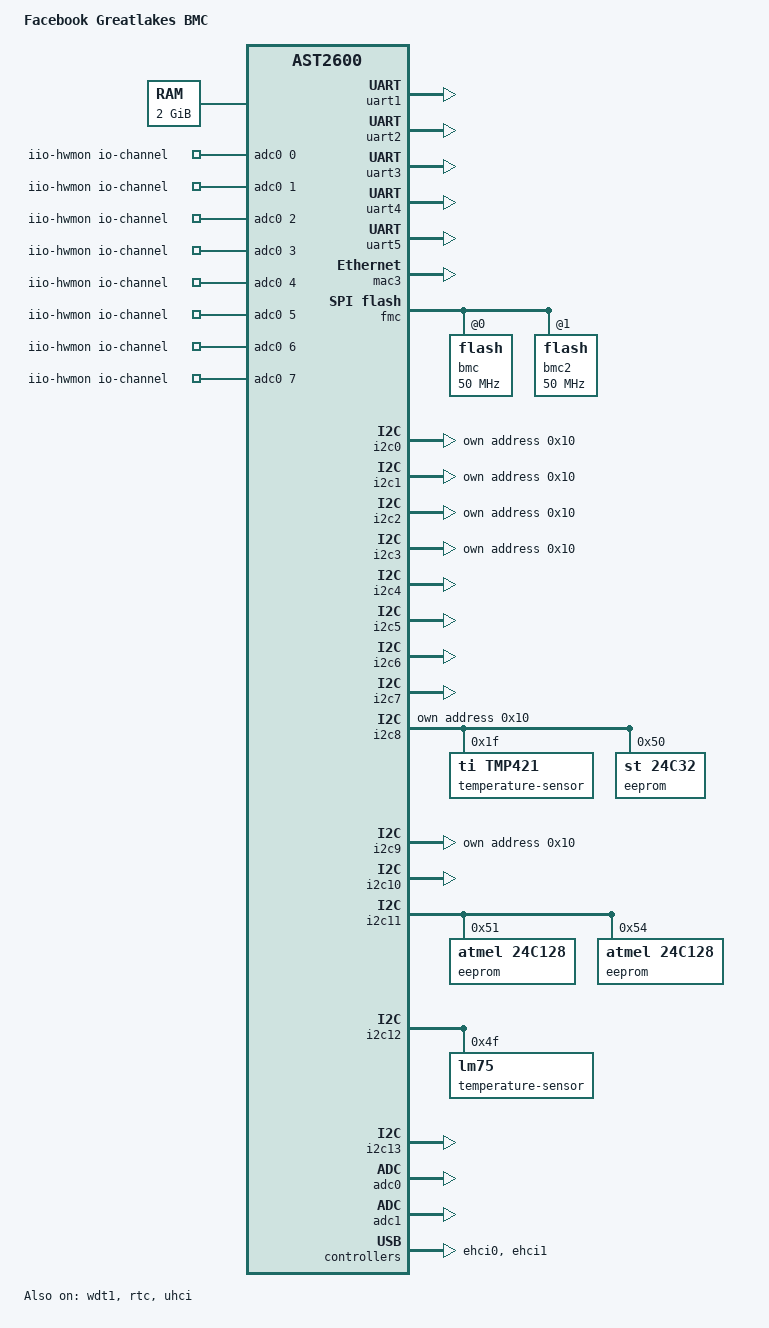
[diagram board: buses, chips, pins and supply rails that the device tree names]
// SPDX-License-Identifier: GPL-2.0-or-later
// Copyright 2022 Facebook Inc.

/dts-v1/;
#include "aspeed-g6.dtsi"
#include <dt-bindings/gpio/aspeed-gpio.h>
#include <dt-bindings/leds/leds-pca955x.h>
#include <dt-bindings/i2c/i2c.h>

/ {
	model = "Facebook Greatlakes BMC";
	compatible = "facebook,greatlakes-bmc", "aspeed,ast2600";

	aliases {
		serial4 = &uart5;
	};

	memory@80000000 {
		device_type = "memory";
		reg = <0x80000000 0x80000000>;
	};

	iio-hwmon {
		compatible = "iio-hwmon";
		io-channels = <&adc0 0>, <&adc0 1>, <&adc0 2>, <&adc0 3>,
				<&adc0 4>, <&adc0 5>, <&adc0 6>, <&adc0 7>,
				<&adc1 0>, <&adc1 2>, <&adc1 3>, <&adc1 4>,
				<&adc1 5>, <&adc1 6>;
	};
};

&uart1 {
	status = "okay";
};

&uart2 {
	status = "okay";
};

&uart3 {
	status = "okay";
};

&uart4 {
	status = "okay";
};

&uart5 {
	status = "okay";
};

&wdt1 {
	status = "okay";
	pinctrl-names = "default";
	pinctrl-0 = <&pinctrl_wdtrst1_default>;
	aspeed,reset-type = "soc";
	aspeed,external-signal;
	aspeed,ext-push-pull;
	aspeed,ext-active-high;
	aspeed,ext-pulse-duration = <256>;
};

&mac3 {
	status = "okay";
	pinctrl-names = "default";
	pinctrl-0 = <&pinctrl_rmii4_default>;
	no-hw-checksum;
	use-ncsi;
	mlx,multi-host;
	ncsi-ctrl,start-redo-probe;
	ncsi-ctrl,no-channel-monitor;
	ncsi-package = <1>;
	ncsi-channel = <1>;
	ncsi-rexmit = <1>;
	ncsi-timeout = <2>;
};

&rtc {
	status = "okay";
};

&fmc {
	status = "okay";
	flash@0 {
		status = "okay";
		m25p,fast-read;
		label = "bmc";
		spi-rx-bus-width = <4>;
		spi-max-frequency = <50000000>;
#include "openbmc-flash-layout-64.dtsi"
	};
	flash@1 {
		status = "okay";
		m25p,fast-read;
		label = "bmc2";
		spi-rx-bus-width = <4>;
		spi-max-frequency = <50000000>;
	};
};

&i2c0 {
	status = "okay";
	multi-master;
	ipmb@10 {
		compatible = "ipmb-dev";
		reg = <(0x10 | I2C_OWN_SLAVE_ADDRESS)>;
		i2c-protocol;
	};
};

&i2c1 {
	status = "okay";
	multi-master;
	ipmb@10 {
		compatible = "ipmb-dev";
		reg = <(0x10 | I2C_OWN_SLAVE_ADDRESS)>;
		i2c-protocol;
	};
};

&i2c2 {
	status = "okay";
	multi-master;
	ipmb@10 {
		compatible = "ipmb-dev";
		reg = <(0x10 | I2C_OWN_SLAVE_ADDRESS)>;
		i2c-protocol;
	};
};

&i2c3 {
	status = "okay";
	multi-master;
	ipmb@10 {
		compatible = "ipmb-dev";
		reg = <(0x10 | I2C_OWN_SLAVE_ADDRESS)>;
		i2c-protocol;
	};
};

&i2c4 {
	status = "okay";
};

&i2c5 {
	status = "okay";
};

&i2c6 {
	status = "okay";
};

&i2c7 {
	status = "okay";
};

&i2c8 {
	status = "okay";
	mctp-controller;
	temperature-sensor@1f {
		compatible = "ti,tmp421";
		reg = <0x1f>;
	};
	// NIC EEPROM
	eeprom@50 {
		compatible = "st,24c32";
		reg = <0x50>;
	};
	mctp@10 {
		compatible = "mctp-i2c-controller";
		reg = <(0x10 | I2C_OWN_SLAVE_ADDRESS)>;
	};
};

&i2c9 {
	status = "okay";
	multi-master;
	ipmb@10 {
		compatible = "ipmb-dev";
		reg = <(0x10 | I2C_OWN_SLAVE_ADDRESS)>;
		i2c-protocol;
	};
};

&i2c10 {
	status = "okay";
};

&i2c11 {
	status = "okay";
	eeprom@51 {
		compatible = "atmel,24c128";
		reg = <0x51>;
	};
	eeprom@54 {
		compatible = "atmel,24c128";
		reg = <0x54>;
	};
};

&i2c12 {
	status = "okay";
	temperature-sensor@4f {
		compatible = "lm75";
		reg = <0x4f>;
	};
};

&i2c13 {
	status = "okay";
};

&adc0 {
	ref_voltage = <2500>;
	status = "okay";
	pinctrl-0 = <&pinctrl_adc0_default &pinctrl_adc1_default
			&pinctrl_adc2_default &pinctrl_adc3_default
			&pinctrl_adc4_default &pinctrl_adc5_default
			&pinctrl_adc6_default &pinctrl_adc7_default>;
};

&adc1 {
	ref_voltage = <2500>;
	status = "okay";
	pinctrl-0 = <&pinctrl_adc8_default &pinctrl_adc10_default
			&pinctrl_adc11_default &pinctrl_adc12_default
			&pinctrl_adc13_default &pinctrl_adc14_default>;
};


&ehci0 {
	status = "okay";
};

&ehci1 {
	status = "okay";
};

&uhci {
	status = "okay";
};

&gpio0 {
	pinctrl-names = "default";
	pinctrl-0 = <&pinctrl_gpiu1_default &pinctrl_gpiu7_default>;

	gpio-line-names =
	/*A0-A7*/ "","","","","","","","",
	/*B0-B7*/ "power-bmc-nic","presence-ocp-debug",
		  "power-bmc-slot1","power-bmc-slot2",
		  "power-bmc-slot3","power-bmc-slot4","","",
	/*C0-C7*/ "presence-ocp-nic","","","reset-cause-nic-primary",
		  "reset-cause-nic-secondary","","","",
	/*D0-D7*/ "","","","","","","","",
	/*E0-E7*/ "","","","","","","","",
	/*F0-F7*/ "slot1-bmc-reset-button","slot2-bmc-reset-button",
		  "slot3-bmc-reset-button","slot4-bmc-reset-button",
		  "","","","presence-emmc",
	/*G0-G7*/ "","","","","","","","",
	/*H0-H7*/ "","","","",
		  "presence-mb-slot1","presence-mb-slot2",
		  "presence-mb-slot3","presence-mb-slot4",
	/*I0-I7*/ "","","","","","","bb-bmc-button","",
	/*J0-J7*/ "","","","","","","","",
	/*K0-K7*/ "","","","","","","","",
	/*L0-L7*/ "","","","","","","","",
	/*M0-M7*/ "","power-nic-bmc-enable","","usb-bmc-enable","","reset-cause-usb-hub","","",
	/*N0-N7*/ "","","","","bmc-ready","","","",
	/*O0-O7*/ "","","","","","","fan0-bmc-cpld-enable","fan1-bmc-cpld-enable",
	/*P0-P7*/ "fan2-bmc-cpld-enable","fan3-bmc-cpld-enable",
		  "reset-cause-pcie-slot1","reset-cause-pcie-slot2",
		  "reset-cause-pcie-slot3","reset-cause-pcie-slot4","","",
	/*Q0-Q7*/ "","","","","","","","",
	/*R0-R7*/ "","","","","","","","",
	/*S0-S7*/ "","","power-p5v-usb","presence-bmc-tpm","","","","",
	/*T0-T7*/ "","","","","","","","",
	/*U0-U7*/ "","","","","","","","GND",
	/*V0-V7*/ "bmc-slot1-ac-button","bmc-slot2-ac-button",
		  "bmc-slot3-ac-button","bmc-slot4-ac-button",
		  "","","","",
	/*W0-W7*/ "","","","","","","","",
	/*X0-X7*/ "","","","","","","","",
	/*Y0-Y7*/ "","","","reset-cause-emmc","","","","",
	/*Z0-Z7*/ "","","","","","","","";
};

&gpio1 {
	gpio-line-names =
	/*18A0-18A7*/ "","","","","","","","",
	/*18B0-18B7*/ "","","","","","","","",
	/*18C0-18C7*/ "","","","","","","","",
	/*18D0-18D7*/ "","","","","","","","",
	/*18E0-18E3*/ "","","","","","","","";
};
